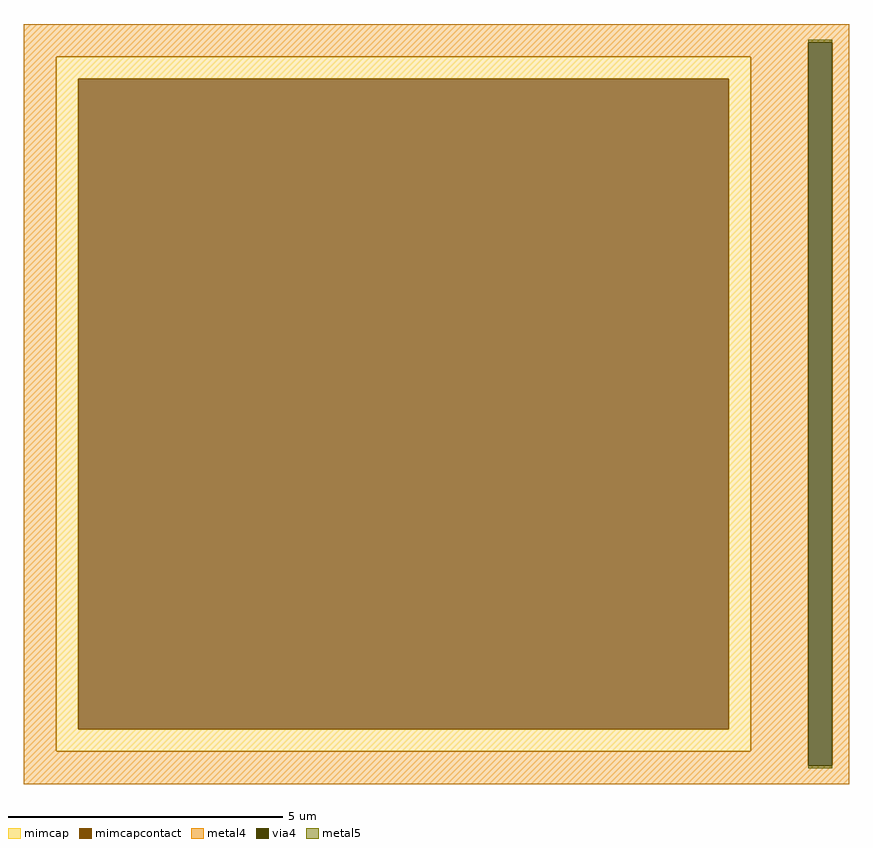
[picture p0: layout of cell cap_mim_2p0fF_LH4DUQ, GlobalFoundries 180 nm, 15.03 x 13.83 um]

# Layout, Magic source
magic
tech gf180mcuD
magscale 1 10
<< mimcap >>
rect -1383 1183 1143 1263
rect -1383 -1183 -1303 1183
rect 1063 -1183 1143 1183
rect -1383 -1263 1143 -1183
<< mimcapcontact >>
rect -1303 -1183 1063 1183
<< metal4 >>
rect -1503 1316 1503 1383
rect -1503 1263 1353 1316
rect -1503 -1263 -1383 1263
rect 1143 -1263 1353 1263
rect -1503 -1316 1353 -1263
rect 1441 -1316 1503 1316
rect -1503 -1383 1503 -1316
<< via4 >>
rect 1353 -1316 1441 1316
<< metal5 >>
rect 1353 1316 1441 1326
rect 1353 -1326 1441 -1316
<< properties >>
string FIXED_BBOX -1503 -1383 1263 1383
string gencell cap_mim_2p0fF
string library gf180mcu
string parameters w 12.63 l 12.63 val 4.999k carea 25.00 cperi 20.00 class capacitor nx 1 ny 1 dummy 0 square 1 lmin 5.00 wmin 5.00 lmax 100.0 wmax 100.0 dc 0 bconnect 1 tconnect 1
<< end >>
